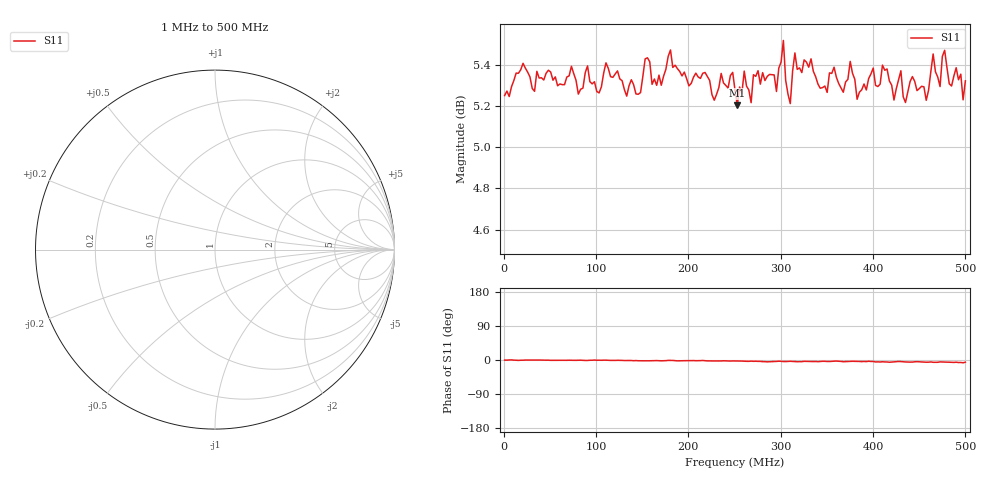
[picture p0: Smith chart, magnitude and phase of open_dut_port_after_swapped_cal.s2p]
! PocketVna 1.54  pocketvna.com
! Live measurements ((Reflection-S11) Linear 1000000-500000000/201 calibrated)
# MHz S DB R 50
! MHz  dBS11  <S11  dBS21  <S21  dBS12  <S12  dBS22  <S22
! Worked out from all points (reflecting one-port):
!   201 points, 1 MHz to 500 MHz, reference 50 ohm
!   lowest |S11| = 5.2 dB at 253 MHz (marker M1)
!   phase of S11 starts at -0 deg and turns -6 deg over the sweep
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1  5.25 -0.2  -200.00 0.0  -200.00 0.0  -200.00 0.0
85.83  5.29 -0.8  -200.00 0.0  -200.00 0.0  -200.00 0.0
168.165  5.35 -1.9  -200.00 0.0  -200.00 0.0  -200.00 0.0
180.64  5.47 -1.0  -200.00 0.0  -200.00 0.0  -200.00 0.0
188.125  5.38 -2.3  -200.00 0.0  -200.00 0.0  -200.00 0.0
215.57  5.36 -1.3  -200.00 0.0  -200.00 0.0  -200.00 0.0
228.045  5.23 -2.8  -200.00 0.0  -200.00 0.0  -200.00 0.0
250.5  5.28 -2.6  -200.00 0.0  -200.00 0.0  -200.00 0.0
252.995  5.21 -2.9  -200.00 0.0  -200.00 0.0  -200.00 0.0
285.43  5.34 -4.8  -200.00 0.0  -200.00 0.0  -200.00 0.0
297.905  5.38 -3.2  -200.00 0.0  -200.00 0.0  -200.00 0.0
302.895  5.52 -4.1  -200.00 0.0  -200.00 0.0  -200.00 0.0
310.38  5.21 -3.4  -200.00 0.0  -200.00 0.0  -200.00 0.0
315.37  5.46 -4.4  -200.00 0.0  -200.00 0.0  -200.00 0.0
335.33  5.37 -4.1  -200.00 0.0  -200.00 0.0  -200.00 0.0
395.21  5.33 -3.2  -200.00 0.0  -200.00 0.0  -200.00 0.0
417.665  5.32 -5.9  -200.00 0.0  -200.00 0.0  -200.00 0.0
427.645  5.33 -3.9  -200.00 0.0  -200.00 0.0  -200.00 0.0
457.585  5.23 -5.9  -200.00 0.0  -200.00 0.0  -200.00 0.0
477.545  5.47 -5.2  -200.00 0.0  -200.00 0.0  -200.00 0.0
497.505  5.23 -7.4  -200.00 0.0  -200.00 0.0  -200.00 0.0
500  5.32 -5.7  -200.00 0.0  -200.00 0.0  -200.00 0.0
